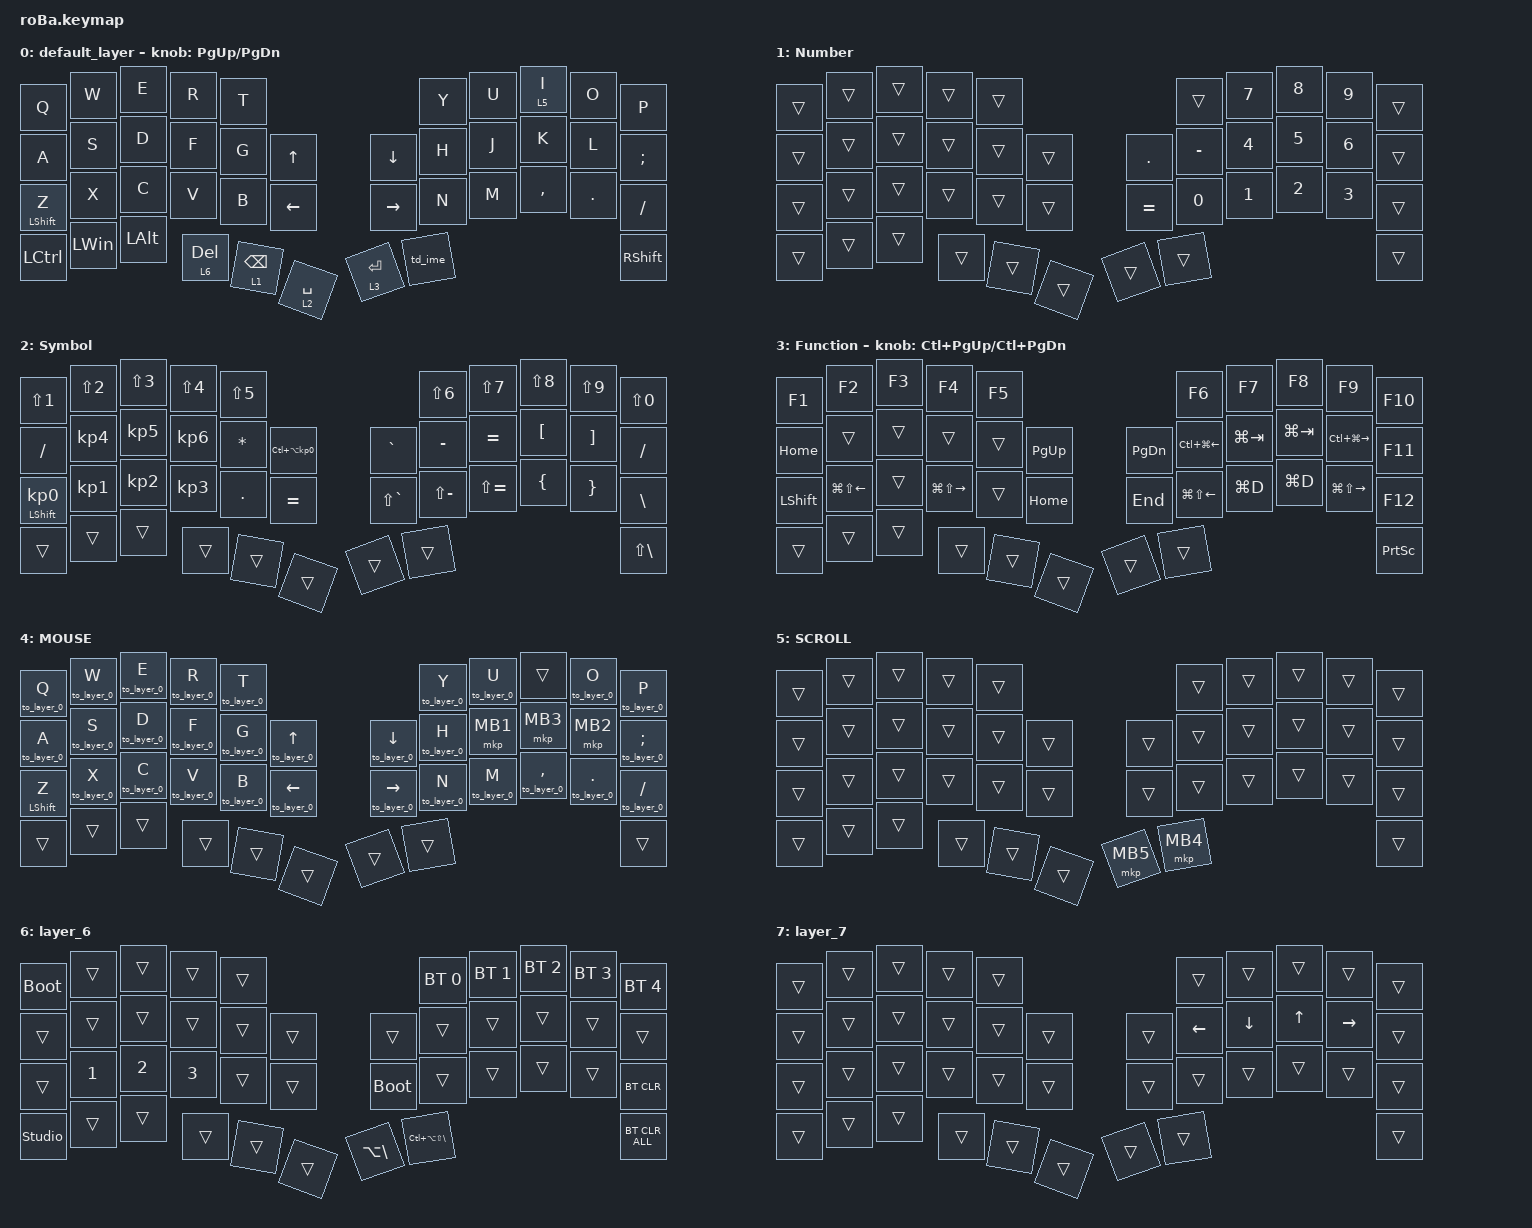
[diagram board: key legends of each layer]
#include <behaviors.dtsi>
#include <behaviors/runtime_macro.dtsi>
#include <dt-bindings/zmk/bt.h>
#include <dt-bindings/zmk/keys.h>
#include <dt-bindings/zmk/pointing.h>

&mt {
    flavor = "balanced";
    quick-tap-ms = <0>;
    tapping-term-ms = <150>;
};

&lt {
    tapping-term-ms = <150>;
};

/ {
    runtime_combo_defaults {
        compatible = "cormoran,runtime-combo-defaults";

        tab {
            bindings = <&kp TAB>;
            key-positions = <11 10>;
        };

        shift_tab {
            bindings = <&kp LS(TAB)>;
            key-positions = <12 11>;
        };

        double_quotation {
            bindings = <&kp SQT>;
            key-positions = <20 21>;
        };

        eq {
            bindings = <&kp EQUAL>;
            key-positions = <24 25>;
        };

        esc {
            bindings = <&kp ESCAPE>;
            key-positions = <0 1>;
        };

        bs {
            bindings = <&kp BACKSPACE>;
            key-positions = <8 9>;
        };
    };

    macros {
        to_layer_0: to_layer_0 {
            compatible = "zmk,behavior-macro-one-param";
            #binding-cells = <1>;
            bindings = <&to 0 &macro_param_1to1 &kp MACRO_PLACEHOLDER>;
            label = "TO_LAYER_0";
        };

    };

    behaviors {
        lt_to_layer_0: lt_to_layer_0 {
            compatible = "zmk,behavior-hold-tap";
            label = "LAYER_TAP_TO_0";
            bindings = <&mo>, <&to_layer_0>;

            #binding-cells = <2>;
            tapping-term-ms = <150>;
        };

        mt_to_layer_0: mod_tap_to_layer_0 {
            compatible = "zmk,behavior-hold-tap";
            label = "MOD_TAP_TO_0";
            bindings = <&kp>, <&to_layer_0>;

            #binding-cells = <2>;
            tapping-term-ms = <150>;
        };

        td_ime: tap_dance_ime {
            compatible = "zmk,behavior-tap-dance";
            #binding-cells = <0>;
            tapping-term-ms = <200>;
            bindings = <&lt 7 LANG2>, <&kp LANG1>;
        };

        td_ime_aml: tap_dance_ime_aml {
            compatible = "zmk,behavior-tap-dance";
            #binding-cells = <0>;
            tapping-term-ms = <200>;
            bindings = <&lt_to_layer_0 7 LANG2>, <&to_layer_0 LANG1>;
        };

    };

    keymap {
        compatible = "zmk,keymap";

        default_layer {
            bindings = <
&kp Q             &kp W         &kp E         &kp R         &kp T                                                         &kp Y    &kp U  &lt 5 I    &kp O    &kp P
&kp A             &kp S         &kp D         &kp F         &kp G            &kp UP_ARROW                &kp DOWN_ARROW   &kp H    &kp J  &kp K      &kp L    &kp SEMICOLON
&mt LEFT_SHIFT Z  &kp X         &kp C         &kp V         &kp B            &kp LEFT_ARROW              &kp RIGHT_ARROW  &kp N    &kp M  &kp COMMA  &kp DOT  &kp SLASH
&kp LCTRL         &kp LEFT_WIN  &kp LEFT_ALT  &lt 6 DELETE  &lt 1 BACKSPACE  &lt_to_layer_0 2 SPACE      &lt 3 ENTER      &td_ime                             &kp RIGHT_SHIFT
            >;

            sensor-bindings = <&inc_dec_kp PG_UP PAGE_DOWN>;
        };

        Number {
            bindings = <
&trans  &trans  &trans  &trans  &trans                          &trans     &kp NUMBER_7  &kp NUMBER_8  &kp NUMBER_9  &trans
&trans  &trans  &trans  &trans  &trans  &trans      &kp PERIOD  &kp MINUS  &kp NUMBER_4  &kp NUMBER_5  &kp NUMBER_6  &trans
&trans  &trans  &trans  &trans  &trans  &trans      &kp EQUAL   &kp N0     &kp NUMBER_1  &kp NUMBER_2  &kp NUMBER_3  &trans
&trans  &trans  &trans  &trans  &trans  &trans      &trans      &trans                                               &trans
            >;
        };

        Symbol {
            bindings = <
&kp LS(NUMBER_1)            &kp LS(NUMBER_2)  &kp LS(NUMBER_3)  &kp LS(NUMBER_4)  &kp LS(NUMBER_5)                                              &kp LS(NUMBER_6)  &kp LS(NUMBER_7)  &kp LS(NUMBER_8)  &kp LS(NUMBER_9)   &kp LS(NUMBER_0)
&kp SLASH                   &kp KP_NUMBER_4   &kp KP_NUMBER_5   &kp KP_NUMBER_6   &kp ASTERISK      &kp LC(LA(KP_NUMBER_0))      &kp GRAVE      &kp MINUS         &kp EQUAL         &kp LEFT_BRACKET  &kp RIGHT_BRACKET  &kp SLASH
&mt LEFT_SHIFT KP_NUMBER_0  &kp KP_NUMBER_1   &kp KP_NUMBER_2   &kp KP_NUMBER_3   &kp PERIOD        &kp EQUAL                    &kp LS(GRAVE)  &kp LS(MINUS)     &kp LS(EQUAL)     &kp LEFT_BRACE    &kp RIGHT_BRACE    &kp BACKSLASH
&trans                      &trans            &trans            &trans            &trans            &trans                       &trans         &trans                                                                   &kp LS(BACKSLASH)
            >;
        };

        Function {
            bindings = <
&kp F1          &kp F2                  &kp F3  &kp F4                   &kp F5                                  &kp F6  &kp F7                  &kp F8       &kp F9                   &kp F10
&kp HOME        &trans                  &trans  &trans                   &trans  &kp PAGE_UP      &kp PAGE_DOWN  &kp LC(LG(LEFT_ARROW))  &kp LG(TAB)  &kp LG(TAB)  &kp LC(LG(RIGHT_ARROW))  &kp F11
&kp LEFT_SHIFT  &kp LG(LS(LEFT_ARROW))  &trans  &kp LG(LS(RIGHT_ARROW))  &trans  &kp HOME         &kp END        &kp LG(LS(LEFT_ARROW))  &kp LG(D)  &kp LG(D)    &kp LG(LS(RIGHT_ARROW))  &kp F12
&trans          &trans                  &trans  &trans                   &trans  &trans           &trans         &trans                                                                &kp PRINTSCREEN
            >;

            sensor-bindings = <&inc_dec_kp LC(PAGE_UP) LC(PAGE_DOWN)>;
        };

        MOUSE {
            // Transparent layer-tap/IME keys let DYA exit MOUSE on press,
            // before the tap/hold or tap-dance result is resolved.
            bindings = <
&to_layer_0 Q                &to_layer_0 W  &to_layer_0 E  &to_layer_0 R            &to_layer_0 T                                                                   &to_layer_0 Y  &to_layer_0 U  &trans            &to_layer_0 O    &to_layer_0 P
&to_layer_0 A                &to_layer_0 S  &to_layer_0 D  &to_layer_0 F            &to_layer_0 G               &to_layer_0 UP              &to_layer_0 DOWN        &to_layer_0 H  &mkp MB1       &mkp MB3            &mkp MB2         &to_layer_0 SEMICOLON
&mt_to_layer_0 LEFT_SHIFT Z  &to_layer_0 X  &to_layer_0 C  &to_layer_0 V            &to_layer_0 B               &to_layer_0 LEFT            &to_layer_0 RIGHT       &to_layer_0 N  &to_layer_0 M  &to_layer_0 COMMA   &to_layer_0 DOT  &to_layer_0 FSLH
&trans                       &trans         &trans         &trans                  &trans                    &trans                    &trans                &trans                                                             &trans
            >;
        };

        SCROLL {
            bindings = <
&trans  &trans  &trans  &trans  &trans                                 &trans             &trans  &trans  &trans  &trans
&trans  &trans  &trans  &trans  &trans  &trans      &trans             &trans             &trans  &trans  &trans  &trans
&trans  &trans  &trans  &trans  &trans  &trans      &trans             &trans             &trans  &trans  &trans  &trans
&trans  &trans  &trans  &trans  &trans  &trans      &mkp MB5  &mkp MB4                          &trans
            >;
        };

        layer_6 {
            bindings = <
&bootloader     &trans        &trans        &trans        &trans                                 &bt BT_SEL 0          &bt BT_SEL 1  &bt BT_SEL 2  &bt BT_SEL 3  &bt BT_SEL 4
&trans          &trans        &trans        &trans        &trans  &trans      &trans             &trans                &trans        &trans        &trans        &trans
&trans          &kp NUMBER_1  &kp NUMBER_2  &kp NUMBER_3  &trans  &trans      &bootloader        &trans                &trans        &trans        &trans        &bt BT_CLR
&studio_unlock  &trans        &trans        &trans        &trans  &trans      &kp LA(BACKSLASH)  &kp LC(LA(LS(BSLH)))                                            &bt BT_CLR_ALL
            >;
        };

        layer_7 {
            bindings = <
&trans  &trans  &trans  &trans  &trans                      &trans          &trans          &trans        &trans           &trans
&trans  &trans  &trans  &trans  &trans  &trans      &trans  &kp LEFT_ARROW  &kp DOWN_ARROW  &kp UP_ARROW  &kp RIGHT_ARROW  &trans
&trans  &trans  &trans  &trans  &trans  &trans      &trans  &trans          &trans          &trans        &trans           &trans
&trans  &trans  &trans  &trans  &trans  &trans      &trans  &trans                                                        &trans
            >;
        };
    };
};
